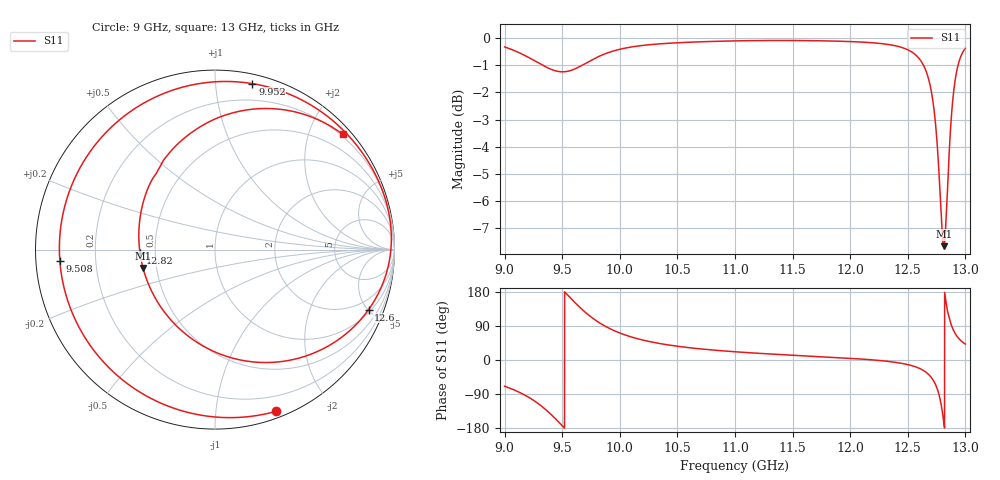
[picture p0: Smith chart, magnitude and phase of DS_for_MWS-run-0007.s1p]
! TOUCHSTONE file generated by CST DESIGN STUDIO
! Date and time: Tue Feb  4 15:45:01 2025
! Project name: C:\Work\MatlabApps\UnitCellOptimizationMatlab\CST\unitcell.cst
! Tree item: Tasks\Sweep1\SPara1\S-Parameters
! Header version: 2024
! Port assignment regex: !\s*Touchstone port\s*([0-9]+)\s*=\s*(CST MWS port|CST DES external port|CST DES block port)\s*(.+)\s* \(\"(.*)\"\)(\s*mode\s*([0-9]+))?.*
! Touchstone port assignment:
! Touchstone port 1 = CST DES external port 1 ("")
# GHz S MA R 50
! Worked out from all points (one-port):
!   4001 points, 9 GHz to 13 GHz, reference 50 ohm
!   lowest |S11| = -7.7 dB at 12.81 GHz (marker M1), VSWR 2.41, Z = 21 - j5.2 ohm
!   |S11| at or under -10 dB: nowhere
!   S11 on the Smith chart (normalised r, x): 9 GHz: 0.06, -1.44; 9.508 GHz: 0.07, -0.04; 9.952 GHz: 0.07, +1.25; 12.6 GHz: 1.17, -5.04; 12.82 GHz: 0.41, -0.02; 13 GHz: 0.17, +2.59
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9  0.9632 -69.3
9.165  0.9314 -90.8
9.284  0.9026 -113.3
9.388  0.8788 -139.3
9.5  0.8668 -173.3
9.508  0.8668 -175.9
9.602  0.8761 154.2
9.721  0.9029 120.7
9.823  0.9262 98.2
9.952  0.9479 77.3
10  0.9537 71.2
10.214  0.9702 51.6
10.5  0.9804 36.3
11  0.9882 21.7
11.5  0.9899 12.6
12  0.9854 4.4
12.5  0.9517 -12.2
12.595  0.9188 -21.3
12.685  0.8337 -39.5
12.748  0.6676 -70.0
12.781  0.5144 -104.3
12.813  0.414 -165.6
12.818  0.4181 -177.1
12.836  0.4831 145.1
12.855  0.5884 116.9
12.886  0.7515 85.7
12.939  0.8962 57.9
13  0.9583 42.0
